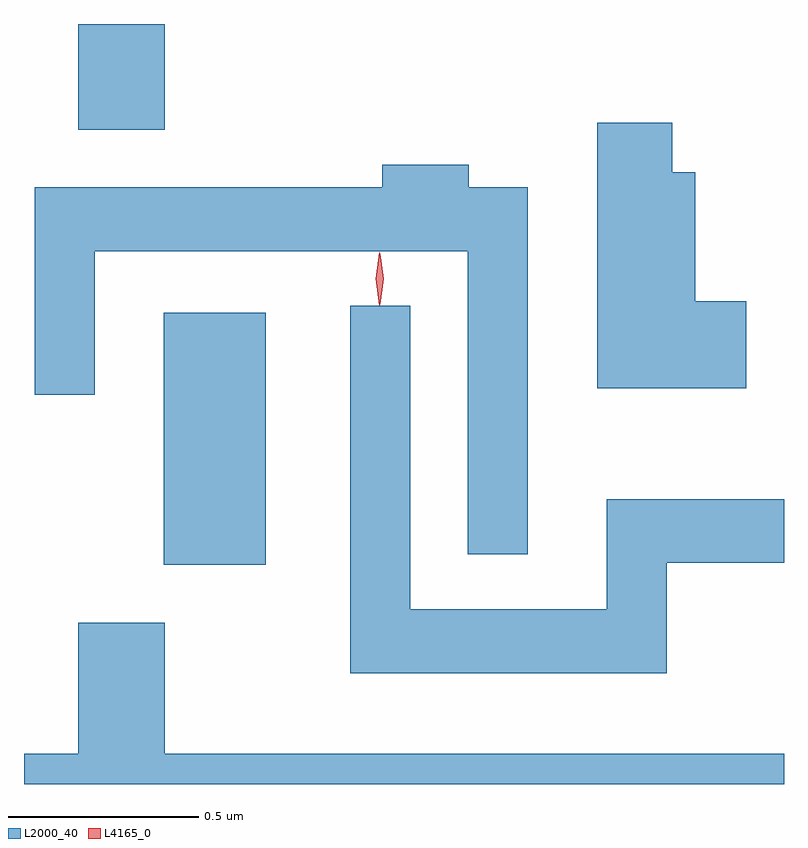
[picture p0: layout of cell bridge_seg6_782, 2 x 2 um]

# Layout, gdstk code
import gdstk
lib = gdstk.Library(unit=1e-6, precision=1e-09)
def R(c, l, rs):  # rectangles x0, y0, x1, y1
    for r in rs: c.add(gdstk.rectangle(r[:2], r[2:], *l))
def P(c, l, *ps):  # polygons
    for p in ps: c.add(gdstk.Polygon(p, *l))
L2000_40 = (2000, 40)
L4165_0 = (4165, 0)

bridge_seg6_782 = lib.new_cell('bridge_seg6_782')
R(bridge_seg6_782, L2000_40, [(507.936,1555.241,508.204,1555.904), (507.711,1556.386,507.939,1556.664)])
P(bridge_seg6_782, L2000_40, [(509.469,1555.934),(509.334,1555.934),(509.334,1556.274),(509.274,1556.274),(509.274,1556.404),(509.076,1556.404),(509.076,1555.706),(509.469,1555.706)],
  [(508.894,1556.234),(508.739,1556.234),(508.739,1556.294),(508.511,1556.294),(508.511,1556.234),(507.596,1556.234),(507.596,1555.688),(507.754,1555.688),(507.754,1556.066),(508.736,1556.066),(508.736,1555.268),(508.894,1555.268)],
  [(509.259,1555.246),(509.568,1555.246),(509.568,1555.414),(509.101,1555.414),(509.101,1555.124),(508.584,1555.124),(508.584,1555.923),(508.426,1555.923),(508.426,1554.956),(509.259,1554.956)],
  [(509.568,1554.744),(507.939,1554.744),(507.939,1555.089),(507.711,1555.089),(507.711,1554.744),(507.568,1554.744),(507.568,1554.664),(509.568,1554.664)])
P(bridge_seg6_782, L4165_0, [(508.503,1555.924),(508.494,1555.993),(508.503,1556.062),(508.504,1556.063),(508.504,1556.062),(508.514,1555.993),(508.504,1555.924),(508.504,1555.924)],
  [(508.504,1555.927),(508.495,1555.994),(508.504,1556.06),(508.505,1556.06),(508.505,1556.06),(508.515,1555.994),(508.505,1555.927),(508.505,1555.927)])

lib.write_gds('bridge_seg6_782.gds')
